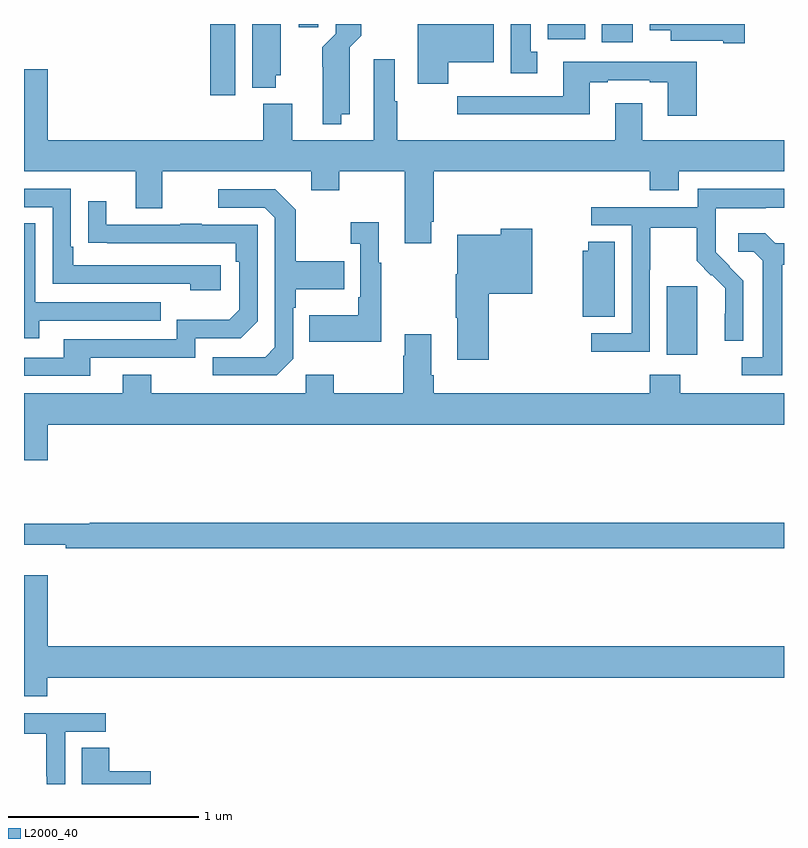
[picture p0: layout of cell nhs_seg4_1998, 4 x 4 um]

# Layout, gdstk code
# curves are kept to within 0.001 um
import gdstk
lib = gdstk.Library(unit=1e-6, precision=1e-09)
def R(c, l, rs):  # rectangles x0, y0, x1, y1
    for r in rs: c.add(gdstk.rectangle(r[:2], r[2:], *l))
def P(c, l, *ps):  # polygons
    for p in ps: c.add(gdstk.Polygon(p, *l))
L2000_40 = (2000, 40)

nhs_seg4_1998 = lib.new_cell('nhs_seg4_1998')
R(nhs_seg4_1998, L2000_40, [(216.383,825.159,216.544,825.52), (213.98,826.524,214.111,826.9), (216.041,826.803,216.205,826.9), (215.756,826.82,215.953,826.9), (214.445,826.884,214.549,826.9)])
P(nhs_seg4_1998, L2000_40, [(214.669,826.424),(214.714,826.424),(214.715,826.778),(214.774,826.837),(214.774,826.9),(214.641,826.9),(214.641,826.848),(214.571,826.778),(214.572,826.373),(214.669,826.373)],
  [(216.793,826.9),(216.293,826.9),(216.293,826.868),(216.404,826.868),(216.404,826.811),(216.68,826.811),(216.68,826.799),(216.793,826.799)],
  [(215.701,826.754),(215.668,826.754),(215.668,826.9),(215.561,826.9),(215.561,826.641),(215.701,826.641)],
  [(214.324,826.629),(214.351,826.629),(214.351,826.9),(214.202,826.9),(214.202,826.565),(214.324,826.565)],
  [(215.233,826.7),(215.473,826.7),(215.473,826.9),(215.072,826.9),(215.072,826.585),(215.233,826.585)],
  [(215.143,825.859),(215.156,825.859),(215.156,826.124),(216.293,826.124),(216.293,826.025),(216.445,826.025),(216.445,826.124),(217,826.124),(217,826.288),(216.253,826.288),(216.253,826.483),(216.113,826.483),(216.113,826.288),(214.964,826.288),(214.964,826.493),(214.951,826.493),(214.951,826.714),(214.841,826.714),(214.841,826.288),(214.411,826.288),(214.411,826.48),(214.259,826.48),(214.259,826.288),(213.124,826.288),(213.124,826.663),(213,826.663),(213,826.124),(213.587,826.124),(213.587,825.93),(213.727,825.93),(213.727,826.124),(214.511,826.124),(214.511,826.025),(214.659,826.025),(214.659,826.124),(215.003,826.124),(215.003,825.747),(215.143,825.747)],
  [(216.542,826.701),(215.837,826.701),(215.837,826.521),(215.389,826.521),(215.389,826.519),(215.28,826.519),(215.28,826.424),(215.977,826.424),(215.977,826.593),(216.073,826.593),(216.073,826.605),(216.293,826.605),(216.293,826.593),(216.389,826.593),(216.389,826.416),(216.542,826.416)],
  [(216.294,825.607),(216.297,825.607),(216.297,825.828),(216.541,825.828),(216.541,825.653),(216.618,825.576),(216.621,825.579),(216.692,825.509),(216.692,825.374),(216.689,825.374),(216.689,825.232),(216.786,825.232),(216.786,825.55),(216.64,825.698),(216.64,825.795),(216.642,825.795),(216.642,825.929),(216.905,825.929),(216.905,825.933),(217,825.933),(217,826.033),(216.546,826.033),(216.546,825.936),(215.985,825.936),(215.985,825.84),(216.198,825.84),(216.198,825.273),(215.985,825.273),(215.985,825.175),(216.294,825.175)],
  [(214.036,825.63),(213.259,825.63),(213.259,825.727),(213.246,825.727),(213.246,826.032),(213,826.032),(213,825.936),(213.15,825.936),(213.15,825.534),(213.875,825.534),(213.875,825.5),(214.036,825.5)],
  [(214.416,825.138),(214.416,825.407),(214.429,825.407),(214.429,825.503),(214.685,825.503),(214.685,825.651),(214.429,825.651),(214.429,825.923),(214.323,826.029),(214.023,826.029),(214.023,825.933),(214.266,825.933),(214.32,825.879),(214.32,825.198),(214.269,825.147),(213.993,825.147),(213.993,825.051),(214.329,825.051)],
  [(213.349,825.144),(213.9,825.144),(213.9,825.246),(214.14,825.246),(214.23,825.336),(214.23,825.843),(213.935,825.843),(213.935,825.848),(213.823,825.848),(213.823,825.843),(213.433,825.843),(213.433,825.967),(213.337,825.967),(213.337,825.748),(214.114,825.747),(214.114,825.65),(214.134,825.65),(214.134,825.396),(214.081,825.343),(213.804,825.343),(213.804,825.24),(213.209,825.24),(213.209,825.144),(213,825.144),(213,825.048),(213.349,825.048)],
  [(214.879,825.643),(214.867,825.643),(214.867,825.856),(214.719,825.856),(214.719,825.743),(214.77,825.743),(214.77,825.463),(214.758,825.463),(214.758,825.367),(214.501,825.367),(214.501,825.227),(214.879,825.227)],
  [(213.079,825.339),(213.719,825.339),(213.719,825.435),(213.06,825.435),(213.06,825.851),(213,825.851),(213,825.245),(213.079,825.245)],
  [(215.447,825.479),(215.674,825.479),(215.674,825.823),(215.509,825.823),(215.509,825.79),(215.279,825.79),(215.279,825.583),(215.272,825.583),(215.272,825.355),(215.279,825.355),(215.279,825.132),(215.447,825.132)],
  [(216.991,825.632),(217,825.632),(217,825.747),(216.954,825.747),(216.902,825.799),(216.759,825.799),(216.759,825.702),(216.84,825.702),(216.887,825.655),(216.887,825.147),(216.777,825.147),(216.777,825.051),(216.991,825.051)],
  [(216.109,825.755),(215.971,825.755),(215.971,825.706),(215.942,825.706),(215.942,825.358),(216.109,825.358)],
  [(213.124,824.792),(217,824.792),(217,824.956),(216.453,824.956),(216.453,825.055),(216.293,825.055),(216.293,824.956),(215.156,824.956),(215.156,825.052),(215.143,825.052),(215.143,825.268),(215.003,825.268),(215.003,825.155),(214.996,825.155),(214.996,824.956),(214.629,824.956),(214.629,825.055),(214.482,825.055),(214.482,824.956),(213.669,824.956),(213.669,825.055),(213.521,825.055),(213.521,824.956),(213,824.956),(213,824.604),(213.124,824.604)],
  [(217,824.276),(213.347,824.276),(213.347,824.269),(213,824.269),(213,824.159),(213.22,824.159),(213.22,824.14),(217,824.14)],
  [(213.122,823.46),(217,823.46),(217,823.624),(213.124,823.624),(213.124,823.999),(213,823.999),(213,823.361),(213.122,823.361)],
  [(213.216,823.176),(213.43,823.176),(213.43,823.272),(213,823.272),(213,823.164),(213.118,823.164),(213.118,822.94),(213.12,822.94),(213.12,822.9),(213.216,822.9)],
  [(213.667,822.968),(213.449,822.968),(213.449,823.091),(213.305,823.091),(213.305,822.9),(213.667,822.9)])

lib.write_gds('nhs_seg4_1998.gds')
